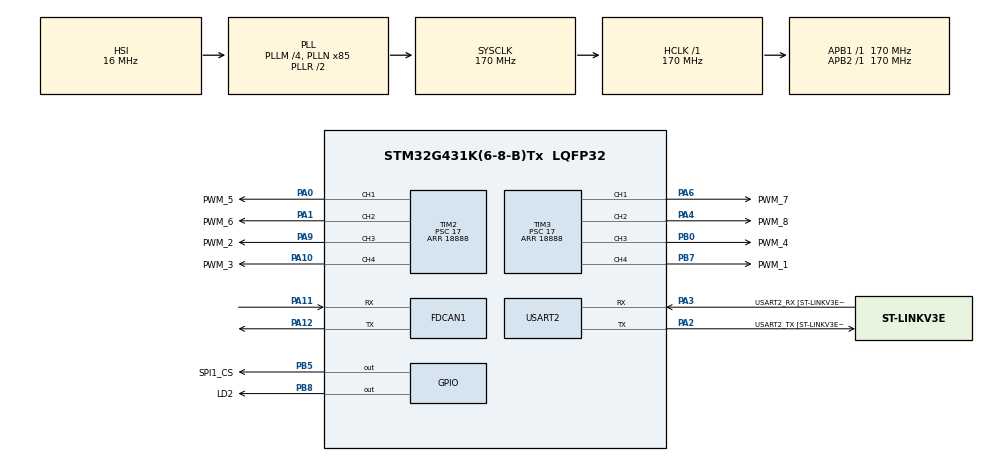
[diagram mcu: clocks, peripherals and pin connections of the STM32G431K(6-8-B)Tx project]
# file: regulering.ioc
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FDCAN1.AutoRetransmission=ENABLE
FDCAN1.CalculateBaudRateNominal=999999
FDCAN1.CalculateTimeBitNominal=1000
FDCAN1.CalculateTimeQuantumNominal=5.882352941176471
FDCAN1.DataPrescaler=2
FDCAN1.DataSyncJumpWidth=12
FDCAN1.DataTimeSeg1=21
FDCAN1.DataTimeSeg2=12
FDCAN1.FrameFormat=FDCAN_FRAME_FD_BRS
FDCAN1.NominalPrescaler=1
FDCAN1.NominalSyncJumpWidth=44
FDCAN1.NominalTimeSeg1=125
FDCAN1.NominalTimeSeg2=44
FDCAN1.StdFiltersNbr=1
Mcu.Family=STM32G4
Mcu.Name=STM32G431K(6-8-B)Tx
Mcu.Package=LQFP32
NVIC.FDCAN1_IT0_IRQn=true\:0\:0\:false\:false\:true\:true\:true\:true
NVIC.FDCAN1_IT1_IRQn=true\:0\:0\:false\:false\:true\:true\:true\:true
NVIC.PriorityGroup=NVIC_PRIORITYGROUP_4
PA0.GPIO_Label=PWM_5
PA0.Signal=S_TIM2_CH1
PA1.GPIO_Label=PWM_6
PA1.Signal=S_TIM2_CH2
PA10.GPIO_Label=PWM_3
PA10.Signal=S_TIM2_CH4
PA11.Mode=FDCAN_Activate
PA11.Signal=FDCAN1_RX
PA12.Mode=FDCAN_Activate
PA12.Signal=FDCAN1_TX
PA13.GPIO_Label=T_SWDIO
PA13.Mode=Serial_Wire
PA13.Signal=SYS_JTMS-SWDIO
PA14.GPIO_Label=T_SWCLK
PA14.Mode=Serial_Wire
PA14.Signal=SYS_JTCK-SWCLK
PA2.GPIO_Label=USART2_TX [ST-LINKV3E_VCP_RX]
PA2.Mode=Asynchronous
PA2.Signal=USART2_TX
PA3.GPIO_Label=USART2_RX [ST-LINKV3E_VCP_TX]
PA3.Mode=Asynchronous
PA3.Signal=USART2_RX
PA4.GPIO_Label=PWM_8
PA4.Signal=S_TIM3_CH2
PA6.GPIO_Label=PWM_7
PA6.Signal=S_TIM3_CH1
PA9.GPIO_Label=PWM_2
PA9.Signal=S_TIM2_CH3
PB0.GPIO_Label=PWM_4
PB0.Signal=S_TIM3_CH3
PB5.GPIO_Label=SPI1_CS
PB5.GPIO_PuPd=GPIO_NOPULL
PB5.GPIO_Speed=GPIO_SPEED_FREQ_HIGH
PB5.PinState=GPIO_PIN_SET
PB5.Signal=GPIO_Output
PB7.GPIO_Label=PWM_1
PB7.Signal=S_TIM3_CH4
PB8-BOOT0.GPIO_Label=LD2
PB8-BOOT0.Signal=GPIO_Output
ProjectManager.HeapSize=0x200
ProjectManager.StackSize=0x400
ProjectManager.TargetToolchain=STM32CubeIDE
RCC.ADC12Freq_Value=170000000
RCC.AHBFreq_Value=170000000
RCC.APB1Freq_Value=170000000
RCC.APB1TimFreq_Value=170000000
RCC.APB2Freq_Value=170000000
RCC.APB2TimFreq_Value=170000000
RCC.CortexFreq_Value=170000000
RCC.EXTERNAL_CLOCK_VALUE=12288000
RCC.HCLKFreq_Value=170000000
RCC.HSE_VALUE=8000000
RCC.HSI48_VALUE=48000000
RCC.HSI_VALUE=16000000
RCC.LSE_VALUE=32768
RCC.PLLM=RCC_PLLM_DIV4
RCC.PLLN=85
RCC.SYSCLKFreq_VALUE=170000000
RCC.SYSCLKSource=RCC_SYSCLKSOURCE_PLLCLK
RCC.USBFreq_Value=170000000
RCC.VCOOutputFreq_Value=340000000
SH.S_TIM2_CH1.0=TIM2_CH1,PWM Generation1 CH1
SH.S_TIM2_CH2.0=TIM2_CH2,PWM Generation2 CH2
SH.S_TIM2_CH3.0=TIM2_CH3,PWM Generation3 CH3
SH.S_TIM2_CH4.0=TIM2_CH4,PWM Generation4 CH4
SH.S_TIM3_CH1.0=TIM3_CH1,PWM Generation1 CH1
SH.S_TIM3_CH2.0=TIM3_CH2,PWM Generation2 CH2
SH.S_TIM3_CH3.0=TIM3_CH3,PWM Generation3 CH3
SH.S_TIM3_CH4.0=TIM3_CH4,PWM Generation4 CH4
TIM2.Channel-PWM\ Generation1\ CH1=TIM_CHANNEL_1
TIM2.Channel-PWM\ Generation2\ CH2=TIM_CHANNEL_2
TIM2.Channel-PWM\ Generation3\ CH3=TIM_CHANNEL_3
TIM2.Channel-PWM\ Generation4\ CH4=TIM_CHANNEL_4
TIM2.OCFastMode_PWM-PWM\ Generation1\ CH1=TIM_OCFAST_ENABLE
TIM2.OCFastMode_PWM-PWM\ Generation2\ CH2=TIM_OCFAST_ENABLE
TIM2.OCFastMode_PWM-PWM\ Generation3\ CH3=TIM_OCFAST_ENABLE
TIM2.PeriodNoDither=18888
TIM2.Prescaler=17
TIM3.Channel-PWM\ Generation1\ CH1=TIM_CHANNEL_1
TIM3.Channel-PWM\ Generation2\ CH2=TIM_CHANNEL_2
TIM3.Channel-PWM\ Generation3\ CH3=TIM_CHANNEL_3
TIM3.Channel-PWM\ Generation4\ CH4=TIM_CHANNEL_4
TIM3.OCFastMode_PWM-PWM\ Generation1\ CH1=TIM_OCFAST_ENABLE
TIM3.OCFastMode_PWM-PWM\ Generation3\ CH3=TIM_OCFAST_ENABLE
TIM3.OCFastMode_PWM-PWM\ Generation4\ CH4=TIM_OCFAST_ENABLE
TIM3.PeriodNoDither=18888
TIM3.Prescaler=17
USART2.VirtualMode-Asynchronous=VM_ASYNC
USART2.WordLength=WORDLENGTH_8B
VP_SYS_VS_DBSignals.Mode=DisableDeadBatterySignals
VP_TIM2_VS_ClockSourceINT.Mode=Internal
VP_TIM3_VS_ClockSourceINT.Mode=Internal
board=NUCLEO-G431KB

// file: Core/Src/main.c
/* USER CODE BEGIN Header */
/**
  ******************************************************************************
  * @file           : main.c
  * @brief          : Main program body
  ******************************************************************************
  * @attention
  *
  * Copyright (c) 2024 STMicroelectronics.
  * All rights reserved.
  *
  * This software is licensed under terms that can be found in the LICENSE file
  * in the root directory of this software component.
  * If no LICENSE file comes with this software, it is provided AS-IS.
  *
  ******************************************************************************
  */
/* USER CODE END Header */
#include "main.h"
#include "fdcan.h"
#include "tim.h"
#include "usart.h"
#include "gpio.h"

/* USER CODE BEGIN Includes */
#include <stdio.h>
#include "retarget.h"
#include "helpers.h"
//#include "ICM20948.h"
#include "fdcan.h"
#include "thruster.h"
#include "pid.h"
#include "vector.h"

/* USER CODE END Includes */

/* USER CODE BEGIN PV */

bool motors_enabled = false;
bool linear_pids_set = false;
bool angular_pids_set = false;

double tau[6] = {0};
double U[8] = {0}; // newtons
double u[8] = {0}; // percent

// pids
pidc_t pid_vx;
pidc_t pid_vy;
pidc_t pid_vz;
pidc_t pid_tx;
pidc_t pid_ty;
pidc_t pid_tz;

// deg
static vec3 rotasjon = {0};
static vec3 rotasjon_last = {0};
static vec3 rotasjon_target = {0};
//  deg/s
static vec3 rotasjonfart = {0};
static vec3 rotasjonfart_target = {0};
// m
static vec3 posisjon = {0};
static vec3 posisjon_last = {0};
static vec3 posisjon_target = {0};
//  m/s
static vec3 fart = {0};
static vec3 fart_target = {0};

// gyro/accel data
//axises gyro = {0};
//axises accel = {0};

#define FIRST_TIME UINT32_MAX

// timekeeping
uint32_t angpos_meas_time = FIRST_TIME;
uint32_t angvel_meas_time = FIRST_TIME;
uint32_t linvel_meas_time = FIRST_TIME;
uint32_t gyro_meas_time = FIRST_TIME;
uint32_t last_controll_time = FIRST_TIME;

// Motor data
StatusByte status_byte = 0;

/* USER CODE END PV */

void SystemClock_Config(void);

int main(void)
{

  /* MCU Configuration--------------------------------------------------------*/

  /* Reset of all peripherals, Initializes the Flash interface and the Systick. */
  HAL_Init();

  /* Configure the system clock */
  SystemClock_Config();

  /* Initialize all configured peripherals */
  MX_GPIO_Init();
  MX_USART2_UART_Init();
  MX_TIM2_Init();
  MX_TIM3_Init();
  MX_FDCAN1_Init();
  /* USER CODE BEGIN 2 */
  CANFD_Init();

  BIT_CLEAR(status_byte, STATUS_THRUSTER_ENABLED);
  BIT_CLEAR(status_byte, STATUS_PIDS_SET);

  RetargetInit(&huart2);

  thruster_init();
  print("- Motors Initialized\r\n");

  //thruster_test_cmd();
  //thruster_test_dutycycle();

  // SPI1 and TIM4CH3 has issues so this does not work atm...
  // TODO: Finne et alternativ som funker, enten bytte til SPI2,
  // Eller bytte fra Tim4 til en annen timer.
  //icm20948_init();

  //thruster_test();
  pid_init(&pid_vx, 0, 0, 0);
  pid_init(&pid_vy, 0, 0, 0);
  pid_init(&pid_vz, 0, 0, 0);
  pid_init(&pid_tx, 0, 0, 0);
  pid_init(&pid_ty, 0, 0, 0);
  pid_init(&pid_tz, 0, 0, 0);

  // limits from thruster_force_get_limits.m
//  pid_limits(&pid_vx, -170.2, 208.9);
//  pid_limits(&pid_vy, -206.8, 175.2);
//  pid_limits(&pid_vz, -199.8, 182.1);
//  pid_limits(&pid_tz, -177.2, 202.0);
//  pid_limits(&pid_tx, -224.5, 266.5);
//  pid_limits(&pid_ty, -249.8, 244.5);

  const double minlim = -120;
  const double maxlim = 120;
  pid_limits(&pid_vx, minlim, maxlim);
  pid_limits(&pid_vy, minlim, maxlim);
  pid_limits(&pid_vz, minlim, maxlim);
  pid_limits(&pid_tz, minlim, maxlim);
  pid_limits(&pid_tx, minlim, maxlim);
  pid_limits(&pid_ty, minlim, maxlim);

  print("- Controllers Initialized\r\n");

  // BLINK on initialized
  HAL_GPIO_WritePin(LD2_GPIO_Port, LD2_Pin, 1);
  HAL_Delay(250);
  HAL_GPIO_WritePin(LD2_GPIO_Port, LD2_Pin, 0);
  HAL_Delay(250);
  HAL_GPIO_WritePin(LD2_GPIO_Port, LD2_Pin, 1);
  HAL_Delay(250);
  HAL_GPIO_WritePin(LD2_GPIO_Port, LD2_Pin, 0);

  //thruster_test();
  /* USER CODE END 2 */

  /* Infinite loop */
  /* USER CODE BEGIN WHILE */
  uint32_t loop_timestamp = HAL_GetTick();
  while (1)
  {
    HAL_Delay(10);

    uint32_t loop_dt_ms = (HAL_GetTick() - loop_timestamp);
    loop_timestamp = HAL_GetTick();

    double loop_dt_sec = loop_dt_ms/1000.0;

    /* TESTING START */

    //print("%10.4f %10.4f %10.4f %10.4f %10.4f %10.4f %u\r\n", gyr.x, gyr.y, gyr.z, acc.x, acc.y, acc.z, loop_dt_ms);
    //print("%f %f %f %f %f %f %u\r\n",gyr.x,gyr.y,gyr.z,acc.x,acc.y,acc.z,loop_dt_ms);
    //continue;

    //print("UPS: %f.2f\r\n", update_frequency);

    //if(HAL_GetTick() > 2000) continue;
    //icm20948_gyrotest();

    /* TESTING SLUTT */

    // Sending av data over fdcan
    static uint32_t sendthrusterdata_lasttime = 0;
    if(HAL_GetTick() - sendthrusterdata_lasttime > SEND_THRUSTERDATA_INTERVALL)
    {
      sendthrusterdata_lasttime = HAL_GetTick();

      SendThrusterData(u);
      //print("Sendt thrusterdata!\r\n");
    }

    static uint32_t sendstatus_lasttime = 0;
    if(HAL_GetTick() - sendstatus_lasttime > SEND_STATUS_INTERVALL)
    {
      sendstatus_lasttime = HAL_GetTick();
      BIT_EDIT(status_byte, STATUS_THRUSTER_ENABLED, motors_enabled);
      BIT_EDIT(status_byte, STATUS_PIDS_SET, angular_pids_set && linear_pids_set);
      SendStatusData(&status_byte);
      // TODO: Sende status
      //SendStatusData(u);
      //print("Sendt status!\r\n");
    }

    motors_enabled = angular_pids_set && linear_pids_set;
    if (!motors_enabled)
    {
      //print("Motors not enabled, set pids first\r\n");
      continue;
    }

    if(HAL_GetTick() - last_controll_time > MAX_ROV_CONTROL_DEADTIME)
    {
      // To long since last requested control, stop!
      zeromem(u, sizeof(u));
      thruster_set_power_percents(u);
      continue;
    }

    // Update states
    for(unsigned i = 0; i < 3; i++)
    {
      rotasjon_target[i] += rotasjonfart_target[i] * loop_dt_sec;
    }

    // Obtain gyro data

//#ifndef ENABLE_IMU
//    icm20948_accel_read_g(&accel);
//    icm20948_gyro_read_dps(&gyro);
//
//    // extrapolation
//    //TODO: Correct axis to frame
//    rotasjon[0] += gyro.x * loop_dt_sec;
//    rotasjon[1] += gyro.y * loop_dt_sec;
//    rotasjon[2] += gyro.z * loop_dt_sec;
//
//#endif

    // Update Pids
    //print("vx: %.2f, vxt: %.2f\r\n",fart[0],fart_target[0]);
    tau[0] = pid_compute_speed(&pid_vx,fart_target[0],fart[0]);
    tau[1] = pid_compute_speed(&pid_vy,fart_target[1],fart[1]);
    tau[2] = pid_compute_speed(&pid_vz,fart_target[2],fart[2]);
    tau[3] = pid_compute_angle(&pid_tx,rotasjon_target[0],rotasjon[0]);
    tau[4] = pid_compute_angle(&pid_ty,rotasjon_target[1],rotasjon[1]);
    tau[5] = pid_compute_angle(&pid_tz,rotasjon_target[2],rotasjon[2]);

//    print("fart_target = ");
//    matrix_print_vec(3, fart_target);
//    print("fart = ");
//    matrix_print_vec(3, fart);
    print("tau = ");
    matrix_print_vec(6, tau);

    // Calculate thruster power in newtons
    thruster_calc_force_safe(tau, U);
//    print("U = ");
//    matrix_print_vec(8, U);

    thruster_map_force_to_percent(U, u);
//    print("u = ");
//    matrix_print_vec(8, u);

    static double u_last[8] = {0};

    const double max_percent_per_second = 10.0; // percent
    const double max_change = max_percent_per_second * loop_dt_sec;
    for(unsigned i = 0; i < 8; i++)
    {
      // check if rapid change in pwm, if not pass
      if(abs(u[i] - u_last[i]) < max_change)
      {
        continue;
      }
      // softstart
      if(u[i] > u_last[i])
      {
        u[i] = u_last[i] + max_change;
      }
      else
      {
        u[i] = u_last[i] - max_change;
      }
    }
    // save
    memcpy(u_last, u, sizeof(u));

    // set power
    thruster_set_power_percents(u);

    /* USER CODE END WHILE */

  }
}

void SystemClock_Config(void)
{
  RCC_OscInitTypeDef RCC_OscInitStruct = {0};
  RCC_ClkInitTypeDef RCC_ClkInitStruct = {0};

  /** Configure the main internal regulator output voltage
  */
  HAL_PWREx_ControlVoltageScaling(PWR_REGULATOR_VOLTAGE_SCALE1_BOOST);

  /** Initializes the RCC Oscillators according to the specified parameters
  * in the RCC_OscInitTypeDef structure.
  */
  RCC_OscInitStruct.OscillatorType = RCC_OSCILLATORTYPE_HSI;
  RCC_OscInitStruct.HSIState = RCC_HSI_ON;
  RCC_OscInitStruct.HSICalibrationValue = RCC_HSICALIBRATION_DEFAULT;
  RCC_OscInitStruct.PLL.PLLState = RCC_PLL_ON;
  RCC_OscInitStruct.PLL.PLLSource = RCC_PLLSOURCE_HSI;
  RCC_OscInitStruct.PLL.PLLM = RCC_PLLM_DIV4;
  RCC_OscInitStruct.PLL.PLLN = 85;
  RCC_OscInitStruct.PLL.PLLP = RCC_PLLP_DIV2;
  RCC_OscInitStruct.PLL.PLLQ = RCC_PLLQ_DIV2;
  RCC_OscInitStruct.PLL.PLLR = RCC_PLLR_DIV2;
  if (HAL_RCC_OscConfig(&RCC_OscInitStruct) != HAL_OK)
  {
    Error_Handler();
  }

  /** Initializes the CPU, AHB and APB buses clocks
  */
  RCC_ClkInitStruct.ClockType = RCC_CLOCKTYPE_HCLK|RCC_CLOCKTYPE_SYSCLK
                              |RCC_CLOCKTYPE_PCLK1|RCC_CLOCKTYPE_PCLK2;
  RCC_ClkInitStruct.SYSCLKSource = RCC_SYSCLKSOURCE_PLLCLK;
  RCC_ClkInitStruct.AHBCLKDivider = RCC_SYSCLK_DIV1;
  RCC_ClkInitStruct.APB1CLKDivider = RCC_HCLK_DIV1;
  RCC_ClkInitStruct.APB2CLKDivider = RCC_HCLK_DIV1;

  if (HAL_RCC_ClockConfig(&RCC_ClkInitStruct, FLASH_LATENCY_4) != HAL_OK)
  {
    Error_Handler();
  }
}

/* USER CODE BEGIN 4 */
float floatdata[9];
void canfd_callback(uint16_t id, void* rxdata)
{
  float* pfloat = rxdata; // assign ptrfloat to same address as rxdata(start of rxbuffer)

  switch(id)
  {
  case REG_KONTROLL:
    // currently bypassed, motors automatically enabled on pids set
    // No need to swap endianess for uint8_t[]
    uint8_t kontroll_byte = ((uint8_t*)rxdata)[4];
    bool enable_motors_requested = kontroll_byte & 0x01;
    if(enable_motors_requested && angular_pids_set && linear_pids_set)
    {
      // only enable motors if pids are set and it is requested
      motors_enabled = true;
    }
    break;
  case PING_RX:
    uint8_t* pingblock = (uint8_t*)rxdata;
    pingblock[0] += 1;
    //print("Ping recieved\r\n");
    SendDataNew(PING_TX, pingblock, sizeof(pingblock));
    break;
  case REG_POSITION_MEASURED:
    swap_endianess(pfloat, 8*sizeof(float), sizeof(float));

    double figure_of_merit = pfloat[6];
    double dt = pfloat[7]; // time since last measurement

    for(unsigned i = 0; i < 3; i++)
    {
      posisjon_last[i] = posisjon[i];
      rotasjon_last[i] = rotasjon[i];

      posisjon[i] = pfloat[i];
      rotasjon[i] = pfloat[i+3];

      if(dt > 0)
      {
        rotasjonfart[i] = (rotasjon[i] - rotasjon_last[i])/dt;
      }
    }
    break;
  case REG_VELOCITY_MEASURED:
    swap_endianess(pfloat, 4*sizeof(float), sizeof(float));

    for(unsigned i = 0; i < 3; i++)
    {
      fart[i] = (double)pfloat[i];
    }
    double distanse_til_bunnen = pfloat[3];
    break;
  case REG_PID_SET_ANGULAR_PARAMS:
    swap_endianess(pfloat, 9*sizeof(float), sizeof(float));

    angular_pids_set = true;
    pid_set_k(&pid_tx, pfloat[0], pfloat[1], pfloat[2]);
    pid_set_k(&pid_ty, pfloat[3], pfloat[4], pfloat[5]);
    pid_set_k(&pid_tz, pfloat[6], pfloat[7], pfloat[8]);
    print("angular: ");
    matrix_print_vecf(9, floatdata);
    break;
  case REG_PID_SET_LINEAR_PARAMS:
    swap_endianess(pfloat, 9*sizeof(float), sizeof(float));

    linear_pids_set = true;
    pid_set_k(&pid_vx, pfloat[0], pfloat[1], pfloat[2]);
    pid_set_k(&pid_vy, pfloat[3], pfloat[4], pfloat[5]);
    pid_set_k(&pid_vz, pfloat[6], pfloat[7], pfloat[8]);
    print("linear: ");
    matrix_print_vecf(9, pfloat);
    break;
  case REG_ANGULAR_VELOCITY_TARGET:
    swap_endianess(pfloat, 3*sizeof(float), sizeof(float));

    last_controll_time = HAL_GetTick();
    for(uint8_t i = 0; i < 3; i++)
    {
      rotasjonfart_target[i] = pfloat[i];
    }
//    print("vinkeltarget: ");
//    matrix_print_vec(3, fart_target);

    break;
  case REG_LINEAR_VELOCITY_TARGET:
    swap_endianess(pfloat, 3*sizeof(float), sizeof(float));

    last_controll_time = HAL_GetTick();
    for(uint8_t i = 0; i < 3; i++)
    {
      fart_target[i] = (double)pfloat[i];
    }
//    print("farttarget: ");
//    matrix_print_vec(3, fart_target);

    break;
  default:
    break;
  }
}

void Test_Handler(void)
{
  print("test ferdig, stopper\r\n");
  while(1){}
}

/* USER CODE END 4 */

void Error_Handler(void)
{
  /* USER CODE BEGIN Error_Handler_Debug */
  /* User can add his own implementation to report the HAL error return state */
  print("ERROR! system crashed\r\n");
  HAL_GPIO_WritePin(LD2_GPIO_Port, LD2_Pin, 1); // enable led
  __disable_irq();
  thruster_deinit(); // force stop motors
  while (1){}
  /* USER CODE END Error_Handler_Debug */
}

#ifdef  USE_FULL_ASSERT
/**
  * @brief  Reports the name of the source file and the source line number
  *         where the assert_param error has occurred.
  * @param  file: pointer to the source file name
  * @param  line: assert_param error line source number
  * @retval None
  */
void assert_failed(uint8_t *file, uint32_t line)
{
  /* USER CODE BEGIN 6 */
  /* User can add his own implementation to report the file name and line number, */
     print("Wrong parameters value: file %s on line %d\r\n", file, line);
  /* USER CODE END 6 */
}
#endif /* USE_FULL_ASSERT */
